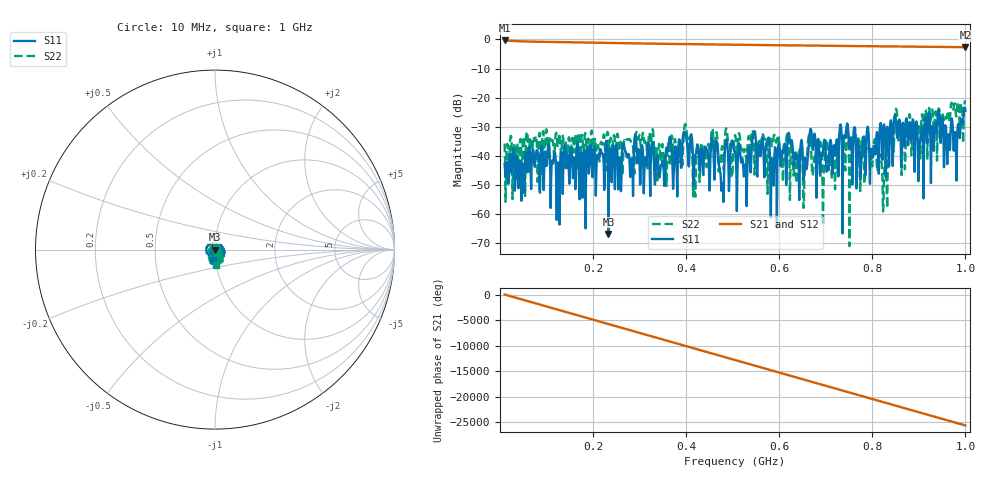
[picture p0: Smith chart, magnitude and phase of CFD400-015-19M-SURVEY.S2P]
!Agilent Technologies,E5071C,MY46106131,A.11.36
!Date: Thu Jul 10 16:58:51 2025
!Data & Calibration Information:
!Freq	S11:SOLT2(ON)	S21:SOLT2(ON)	S12:SOLT2(ON)	S22:SOLT2(ON)
!PortZ  Port1:50+j0  Port2:50+j0
!Above PortZ is port z conversion or system Z0 setting when saving the data.
!When reading, reference impedance value at option line is always used.
# Hz S dB R 50
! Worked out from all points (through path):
!   991 points, 10 MHz to 1 GHz, reference 50 ohm
!   highest |S21| = -0.34 dB at 10 MHz (marker M1); lowest = -2.7 dB at 1 GHz (marker M2)
!   group delay of S21, straight-line fit = 72.4 ns
!   lowest |S11| = -67.0 dB at 233 MHz (marker M3), VSWR 1.00, Z = 50 - j0.0436 ohm
!   |S11| at or under -10 dB: start of sweep to end of sweep
!   |S22| runs from -71.1 to -21.2 dB; largest |S21 - S12| = 0.011
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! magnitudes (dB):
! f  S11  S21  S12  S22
! 10 MHz  -42.8  -0.3  -0.3  -35.8
! 175 MHz  -40.4  -1.0  -1.1  -33.8
! 233 MHz  -67.0  -1.2  -1.2  -34.3
! 340 MHz  -42.9  -1.5  -1.5  -39.4
! 399 MHz  -32.8  -1.6  -1.6  -29.4
! 418 MHz  -41.2  -1.6  -1.6  -48.0
! 455 MHz  -34.0  -1.7  -1.7  -31.2
! 477 MHz  -50.1  -1.8  -1.7  -36.7
! 486 MHz  -34.4  -1.8  -1.8  -30.5
! 505 MHz  -38.6  -1.8  -1.8  -32.9
! 616 MHz  -45.1  -2.0  -2.0  -33.5
! 656 MHz  -40.7  -2.1  -2.1  -44.1
! 664 MHz  -35.0  -2.1  -2.1  -32.8
! 670 MHz  -33.3  -2.1  -2.1  -43.0
! 704 MHz  -43.6  -2.2  -2.1  -37.1
! 744 MHz  -30.9  -2.2  -2.2  -35.3
! 775 MHz  -46.2  -2.3  -2.3  -42.9
! 835 MHz  -37.4  -2.4  -2.4  -38.3
! 851 MHz  -28.2  -2.4  -2.4  -23.8
! 867 MHz  -29.6  -2.4  -2.4  -28.7
! 978 MHz  -31.8  -2.6  -2.6  -22.6
! 1 GHz  -24.6  -2.7  -2.6  -21.5
